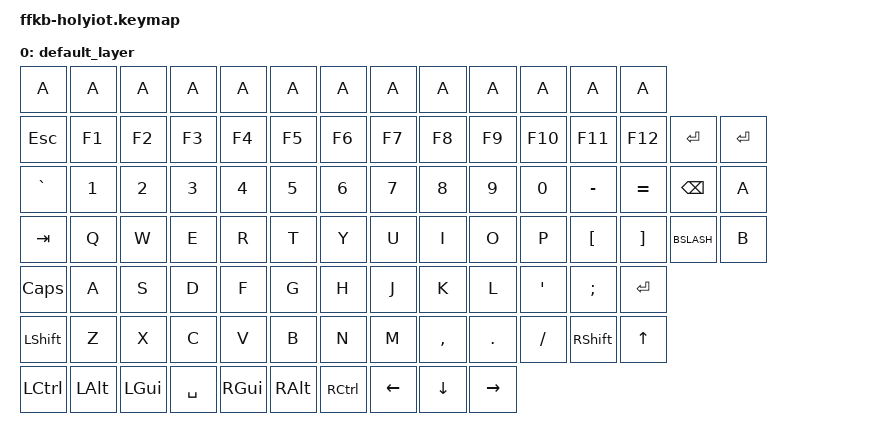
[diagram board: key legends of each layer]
#include <behaviors.dtsi>
#include <dt-bindings/zmk/keys.h>
// #include <dt-bindings/zmk/rgb.h>
#include <dt-bindings/zmk/bt.h>
#include <dt-bindings/zmk/ext_power.h>
#include <dt-bindings/zmk/outputs.h>

// #define DEFAULT 0
// #define NAV     1
// #define SYM     2
// #define FUNC    3
// #define MEDIA   4
// #define MOUSE   5
// #define WINNAV  6

// &caps_word {
//     continue-list = <UNDERSCORE MINUS>;
// };

// / {
//     combos {
//         compatible = "zmk,combos";
//         combo_undo {
//             timeout-ms = <50>;
//             key-positions = <26 27>;
//             bindings = <&kp LC(Z)>;
//         };
//         combo_q {
//             timeout-ms = <50>;
//             key-positions = <27 28>;
//             bindings = <&kp Q>;
//         };
//         combo_semicolon {
//             timeout-ms = <50>;
//             key-positions = <33 34>;
//             bindings = <&kp SEMI>;
//         };
//     };
// };

/ {

    // sensors {
    //     compatible = "zmk,keymap-sensors";
    //     sensors = <&encoder_1 &encoder_2 &encoder_3>;
    // };

    // behaviors {
    //     hm: homerow_mods {
    //         compatible = "zmk,behavior-hold-tap";
    //         label = "HOMEROW_MODS";
    //         #binding-cells = <2>;
    //         tapping-term-ms = <200>;
    //         quick_tap_ms = <0>;
    //         flavor = "balanced";
    //         bindings = <&kp>, <&kp>;
    //     };
    //     hs: homerow_shift {
    //         compatible = "zmk,behavior-hold-tap";
    //         label = "HOMEROW_SHIFT";
    //         #binding-cells = <2>;
    //         tapping-term-ms = <175>;
    //         quick_tap_ms = <0>;
    //         flavor = "balanced";
    //         bindings = <&kp>, <&kp>;
    //     };
    // };

    keymap {
        compatible = "zmk,keymap";

        default_layer {
            bindings = <
                &kp A       &kp A       &kp A       &kp A       &kp A       &kp A       &kp A       &kp A       &kp A       &kp A       &kp A       &kp A       &kp A
                
                &kp ESC     &kp F1      &kp F2      &kp F3      &kp F4      &kp F5      &kp F6      &kp F7      &kp F8      &kp F9      &kp F10     &kp F11      &kp F12    &kp ENTER     &kp ENTER
                
                &kp GRAVE   &kp 1       &kp 2       &kp 3       &kp 4       &kp 5       &kp 6       &kp 7       &kp 8       &kp 9       &kp 0       &kp MINUS    &kp EQUAL   &kp BSPC     &kp A
                
                &kp TAB     &kp Q       &kp W       &kp E       &kp R       &kp T       &kp Y       &kp U       &kp I       &kp O       &kp P       &kp LBKT     &kp RBKT    &kp BSLASH     &kp B
                
                &kp CAPS    &kp A       &kp S       &kp D       &kp F       &kp G       &kp H       &kp J       &kp K       &kp L       &kp SQT     &kp SEMI     &kp ENTER
                
                &kp LSHFT   &kp Z       &kp X       &kp C       &kp V       &kp B       &kp N       &kp M       &kp COMMA   &kp DOT     &kp SLASH   &kp RSHFT    &kp UP
                
                &kp LCTRL   &kp LALT    &kp LGUI    &kp SPACE   &kp RGUI    &kp RALT    &kp RCTRL   &kp LEFT    &kp DOWN    &kp RIGHT
            >;
        };

    //     default_layer {
    //         label = "Default";

    //         // sensor-bindings = <&inc_dec_kp C_VOLUME_UP C_VOLUME_DOWN &inc_dec_kp C_VOLUME_UP C_VOLUME_DOWN &inc_dec_kp C_VOLUME_UP C_VOLUME_DOWN>;

    //         bindings = <
    // &kp ESC    &kp Q        &kp W        &kp F       &kp P         &kp B                                       &kp J         &kp L        &lt WINNAV U  &kp Y       &kp SEMI    &kp BSLH
    // &kp TAB    &hm LCTL A   &hm LGUI R   &hm LALT S  &hs LSHIFT T  &kp G            &kp LA(TAB)                &lt MOUSE M   &hs RSHIFT N &hm RALT E    &hm RGUI I  &hm RCTL O  &kp SQT
    // &kp LSHIFT &kp Z        &kp X        &kp C       &kp D         &kp V                                       &kp K         &kp H        &kp COMMA     &kp DOT     &kp FSLH    &kp RCTRL
    //                                      &kp C_MUTE  &kp DEL       &lt NAV RET  &lt FUNC TAB  &lt MEDIA BSPC   &lt SYM SPACE &kp SQT      &kp LC(BSPC)
    //         >;
    //     };

    //     nav_layer {
    //         label = "Navigation";
            
    //         sensor-bindings = <&inc_dec_kp C_VOLUME_UP C_VOLUME_DOWN &inc_dec_kp C_VOLUME_UP C_VOLUME_DOWN &inc_dec_kp C_VOLUME_UP C_VOLUME_DOWN>;
            
    //         bindings = <
    // &trans     &kp ESC      &kp PG_UP    &kp UP      &kp PG_DN     &trans                                      &kp ASTRK     &kp N7       &kp N8        &kp N9      &kp MINUS   &trans
    // &trans     &kp HOME     &kp LEFT     &kp DOWN    &kp RIGHT     &kp END              &trans                 &kp FSLH      &kp N4       &kp N5        &kp N6      &kp PLUS    &trans
    // &trans     &trans       &trans       &trans      &trans        &trans                                      &kp EQUAL     &kp N1       &kp N2        &kp N3      &kp N0      &trans
    //                                      &trans      &trans        &trans       &kp TAB       &kp BSPC         &kp SPACE     &kp DOT      &trans
    //         >;
    //     };

    //     sym_layer {
    //         label = "Symbols";
            
    //         sensor-bindings = <&inc_dec_kp C_VOLUME_UP C_VOLUME_DOWN &inc_dec_kp C_VOLUME_UP C_VOLUME_DOWN &inc_dec_kp C_VOLUME_UP C_VOLUME_DOWN>;
            
    //         bindings = <
    // &trans     &kp EXCL     &kp AT       &kp HASH        &kp DLLR         &kp PRCNT                                   &kp CARET     &kp AMPS          &kp ASTRK     &kp UNDER   &kp EQUAL   &trans
    // &trans     &kp MINUS    &kp LBKT     &kp LBRC        &kp LPAR         &kp LT                &trans                &kp GT        &kp RPAR          &kp RBRC      &kp RBKT    &kp PLUS    &trans
    // &trans     &kp CAPS     &kp GRAVE    &kp LC(LS(TAB)) &kp LC(LG(LEFT)) &caps_word                                  &trans        &kp LC(LG(RIGHT)) &kp LC(TAB)   &trans      &kp BSLH    &trans
    //                                      &trans          &trans           &kp RET       &kp DEL        &kp BSPC       &trans        &trans            &trans
    //         >;
    //     };

    //     func_layer {
    //         label = "Function";

    //         sensor-bindings = <&inc_dec_kp C_VOLUME_UP C_VOLUME_DOWN &inc_dec_kp C_VOLUME_UP C_VOLUME_DOWN &inc_dec_kp C_VOLUME_UP C_VOLUME_DOWN>;
            
    //         bindings = <
    // &trans     &trans       &kp LS(PG_UP) &kp LS(UP)   &kp LS(PG_DN) &trans                                      &kp C_PLAY_PAUSE &kp F7       &kp F8        &kp F9      &kp F10     &trans
    // &trans     &kp LS(HOME) &kp LS(LEFT)  &kp LS(DOWN) &kp LS(RIGHT) &kp LS(END)           &trans                &kp K_VOL_UP     &kp F4       &kp F5        &kp F6      &kp F11     &trans
    // &trans     &trans       &trans        &trans       &trans        &kp C_MUTE                                  &kp K_VOL_DN     &kp F1       &kp F2        &kp F3      &kp F12     &trans
    //                                       &trans       &trans        &trans        &trans         &trans         &trans           &kp SPACE    &trans
    //         >;
    //     };

    //     media_layer {
    //         label = "Media";
            
    //         sensor-bindings = <&inc_dec_kp C_VOLUME_UP C_VOLUME_DOWN &inc_dec_kp C_VOLUME_UP C_VOLUME_DOWN &inc_dec_kp C_VOLUME_UP C_VOLUME_DOWN>;
            
    //         bindings = <
    // &rgb_ug RGB_COLOR_HSB(0,0,100)         &rgb_ug RGB_TOG  &rgb_ug RGB_EFR  &rgb_ug RGB_EFF &trans            &trans                            &trans             &bt BT_PRV        &bt BT_NXT         &trans         &trans          &trans
    // &rgb_ug RGB_COLOR_HSB(224,100,100)     &trans           &rgb_ug RGB_HUI  &rgb_ug RGB_SAI &rgb_ug RGB_BRI   &rgb_ug RGB_SPI      &trans       &bt BT_CLR         &bt BT_SEL 0      &bt BT_SEL 1       &bt BT_SEL 2   &bt BT_SEL 3    &trans
    // &rgb_ug RGB_COLOR_HSB(278,100,100)     &trans           &rgb_ug RGB_HUD  &rgb_ug RGB_SAD &rgb_ug RGB_BRD   &rgb_ug RGB_SPD                   &ext_power EP_TOG  &ext_power EP_ON  &ext_power EP_OFF  &out OUT_USB   &out OUT_BLE    &trans
    //                                                                         &trans          &trans            &trans        &trans         &trans         &trans           &trans     &trans
    //         >;
    //     };

    //     mouse_layer {
    //         label = "Mouse";
            
    //         sensor-bindings = <&inc_dec_kp C_VOLUME_DOWN C_VOLUME_UP &inc_dec_kp C_VOLUME_DOWN C_VOLUME_UP &inc_dec_kp C_VOLUME_DOWN C_VOLUME_UP>;
            
    //         bindings = <
    // &trans     &bootloader &trans      &trans      &trans      &trans                                           &trans      &trans      &trans      &trans      &trans      &trans
    // &trans     &trans      &trans      &trans      &trans      &trans                   &trans                  &trans      &trans      &trans      &trans      &trans      &trans
    // &trans     &trans      &trans      &trans      &trans      &trans                                           &trans      &trans      &trans      &trans      &trans      &trans
    //                                      &trans      &trans        &trans        &trans         &trans          &trans      &trans      &trans
    //         >;
    //     };

    //     winnav_layer {
    //         label = "Win Navigation";
            
    //         sensor-bindings = <&inc_dec_kp C_VOLUME_UP C_VOLUME_DOWN &inc_dec_kp C_VOLUME_UP C_VOLUME_DOWN &inc_dec_kp C_VOLUME_UP C_VOLUME_DOWN>;
            
    //         bindings = <
    // &trans     &trans       &trans       &kp LG(UP)   &trans        &trans                                      &trans      &trans      &trans      &trans      &trans      &trans
    // &trans     &trans       &kp LG(LEFT) &kp LG(DOWN) &kp LG(RIGHT) &trans                &trans                &trans      &trans      &trans      &trans      &trans      &trans
    // &trans     &trans       &trans       &trans       &trans        &trans                                      &trans      &trans      &trans      &trans      &trans      &trans
    //                                      &trans       &trans        &trans        &trans         &trans         &trans        &trans       &trans
    //         >;
    //     };
    };
};
